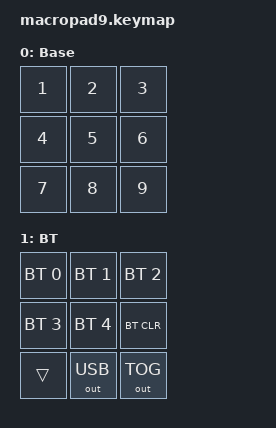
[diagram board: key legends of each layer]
#include <behaviors.dtsi>
#include <dt-bindings/zmk/keys.h>
#include <dt-bindings/zmk/bt.h>
#include <dt-bindings/zmk/outputs.h>

/ {
    keymap {
        compatible = "zmk,keymap";
        base_layer {
            display-name = "Base";
            bindings = <
                &kp N1   &kp N2   &kp N3
                &kp N4   &kp N5   &kp N6
                &kp N7   &kp N8   &kp N9
            >;
        };
        bt_layer {
            display-name = "BT";
            bindings = <
                &bt BT_SEL 0   &bt BT_SEL 1   &bt BT_SEL 2
                &bt BT_SEL 3   &bt BT_SEL 4   &bt BT_CLR
                &trans         &out OUT_USB   &out OUT_TOG
            >;
        };
    };
};
